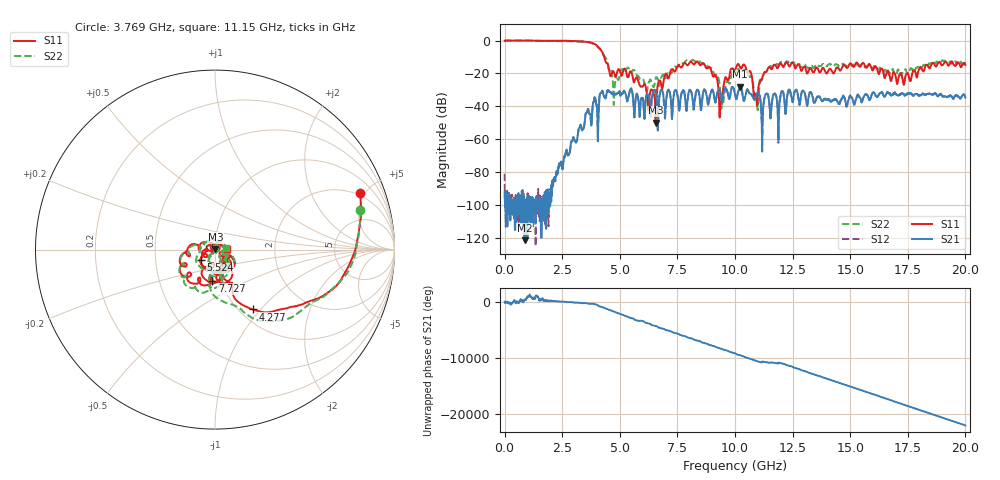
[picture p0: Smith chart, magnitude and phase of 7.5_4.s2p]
#  HZ  S  RI  R  50.00
! Rohde & Schwarz Vector Network Analyzer
! Rohde-Schwarz,ZNB20-2Port,1311601062102128,3.60
! Created: UTC 4/29/2024, 2:54:41 PM
! freq[Hz]  re:S11  im:S11  re:S21  im:S21  re:S12  im:S12  re:S22  im:S22
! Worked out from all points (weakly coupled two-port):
!   2007 points, 100 kHz to 20 GHz, reference 50 ohm
!   highest |S21| = -27.99 dB at 10.22 GHz (marker M1); lowest = -121.6 dB at 867.5 MHz (marker M2)
!   lowest |S11| = -50.0 dB at 6.56 GHz (marker M3), VSWR 1.01, Z = 50.2 + j0.215 ohm
!   |S11| at or under -10 dB: 4.325 GHz to end of sweep
!   |S22| runs from -42.3 to 0.1 dB; largest |S21 - S12| = 0.0021
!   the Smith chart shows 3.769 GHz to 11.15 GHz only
!   S11 on the Smith chart (normalised r, x): 3.769 GHz: 1.80, +4.59; 4.277 GHz: 1.15, -0.91; 5.524 GHz: 0.85, -0.10; 7.727 GHz: 0.91, -0.33; 11.15 GHz: 1.14, +0.00
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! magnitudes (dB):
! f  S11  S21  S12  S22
! 100 kHz  0.0  -92.1  -81.0  0.1
! 867.5 MHz  0.1  -121.6  -96.6  0.0
! 2.233 GHz  0.0  -80.6  -82.8  -0.3
! 3.34 GHz  -0.6  -53.9  -53.5  -0.6
! 3.769 GHz  -1.2  -51.6  -51.9  -1.5
! 4.277 GHz  -8.1  -32.3  -32.1  -8.4
! 4.776 GHz  -20.9  -32.4  -32.5  -28.2
! 5.524 GHz  -20.1  -30.4  -30.4  -19.0
! 6.56 GHz  -50.0  -31.6  -31.6  -22.6
! 6.67 GHz  -25.5  -45.1  -45.2  -24.8
! 7.727 GHz  -15.2  -30.7  -30.7  -13.7
! 8.893 GHz  -16.1  -34.4  -34.4  -16.8
! 9.382 GHz  -37.8  -33.4  -33.5  -34.0
! 10 GHz  -18.5  -32.4  -32.5  -19.9
! 10.22 GHz  -16.3  -28.0  -28.0  -17.1
! 10.66 GHz  -18.7  -32.3  -32.4  -21.8
! 10.9 GHz  -32.8  -34.8  -34.8  -34.6
! 11.15 GHz  -23.8  -44.6  -44.4  -24.5
! 11.37 GHz  -18.8  -32.2  -32.3  -19.1
! 13.34 GHz  -18.0  -32.7  -32.8  -15.3
! 16.67 GHz  -19.1  -31.9  -31.9  -20.5
! 20 GHz  -14.6  -34.7  -34.8  -14.3
